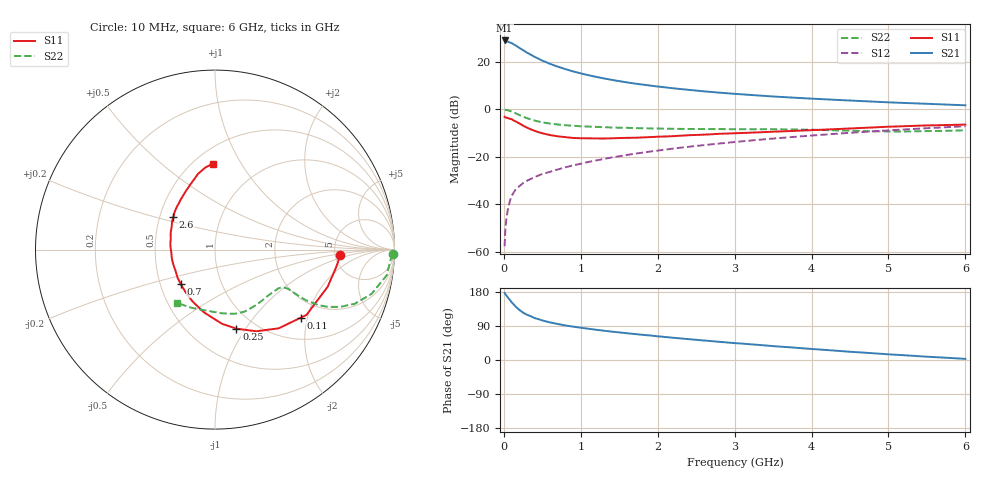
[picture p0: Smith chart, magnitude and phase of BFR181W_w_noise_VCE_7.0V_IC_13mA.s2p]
! Infineon Technologies  Discrete & RF Semiconductors
! BFR181W
! VCE =  7.0 V,  IC =  13 mA
! Common Emitter S-Parameters:  Jan 2017
# GHz  S  MA  R  50
!  f  S11  S21  S12  S22
! GHz  MAG  ANG  MAG  ANG  MAG  ANG  MAG  ANG
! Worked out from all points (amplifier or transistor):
!   77 points, 10 MHz to 6 GHz, reference 50 ohm
!   highest |S21| = 29.1 dB at 10 MHz (marker M1)
!   |S21| within 3 dB of that: start of sweep to 195.6 MHz
!   unconditionally stable (mu >= 1): 928.5 MHz to 2.862 GHz
!   at 130 MHz: K = 0.31, MSG = 31.2 dB, |S12| = -34.9 dB
!   at 2.2 GHz: K = 1.04, MAG = 11.4 dB, |S12| = -16.5 dB
!   at 6 GHz: K = 0.85, MSG = 4.4 dB, |S12| = -7.1 dB
!   lowest NFmin = 1.39 dB at 450 MHz
!   S11 on the Smith chart (normalised r, x): 10 MHz: 5.55, -0.69; 110 MHz: 1.51, -1.83; 250 MHz: 0.82, -0.91; 700 MHz: 0.64, -0.26; 2.6 GHz: 0.59, +0.23; 6 GHz: 0.61, +0.76
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0.01  0.6987 -2.6  28.63 177.0  0.0013 92.9  0.99 -1.5
0.02  0.6818 -8.4  28.11 173.6  0.003 93.7  0.9806 -3.1
0.05  0.6611 -18.2  27.31 165.6  0.0074 79.5  0.9675 -8.5
0.1  0.6264 -35.5  25.2 152.5  0.0147 76.5  0.9062 -15.8
0.11  0.6106 -38.3  24.63 150.5  0.0157 75.0  0.8914 -16.8
0.15  0.5643 -51.0  22.66 141.6  0.02 70.5  0.8352 -21.2
0.2  0.5098 -63.2  20.05 132.4  0.0239 67.9  0.765 -24.7
0.25  0.4564 -74.8  17.83 125.2  0.0279 64.1  0.7048 -26.9
0.3  0.4147 -84.7  15.87 119.4  0.0312 63.4  0.6546 -28.2
0.4  0.3544 -100.2  12.9 110.7  0.0373 63.9  0.5825 -29.1
0.5  0.3145 -113.5  10.75 104.4  0.0434 64.3  0.5354 -29.0
0.6  0.2885 -124.7  9.195 99.2  0.0483 64.6  0.5037 -28.7
0.7  0.2711 -134.7  8.01 95.0  0.0541 66.7  0.4816 -28.4
0.9  0.2502 -151.0  6.361 88.0  0.0663 67.3  0.4528 -28.4
1.1  0.246 -164.4  5.291 82.5  0.078 68.7  0.4353 -28.9
1.5  0.2491 175.4  3.961 72.8  0.1027 69.1  0.4121 -31.9
2.1  0.2692 154.8  2.923 60.7  0.1423 68.0  0.3931 -40.0
2.6  0.2937 142.3  2.415 51.5  0.1765 66.1  0.3855 -48.6
3.1  0.3188 131.7  2.083 43.2  0.2128 63.4  0.3826 -57.4
4.1  0.3715 114.5  1.661 27.7  0.2892 56.7  0.3696 -75.2
5.1  0.4375 101.4  1.394 13.8  0.3694 48.3  0.3429 -100.3
6  0.4795 91.4  1.224 3.0  0.4426 39.9  0.3639 -125.1
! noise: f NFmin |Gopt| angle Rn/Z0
0.45  1.39  0.08  17  0.21
0.9  1.43  0.08  31  0.21
1.9  1.86  0.09  -144  0.21
2.4  2.07  0.11  -109  0.26
